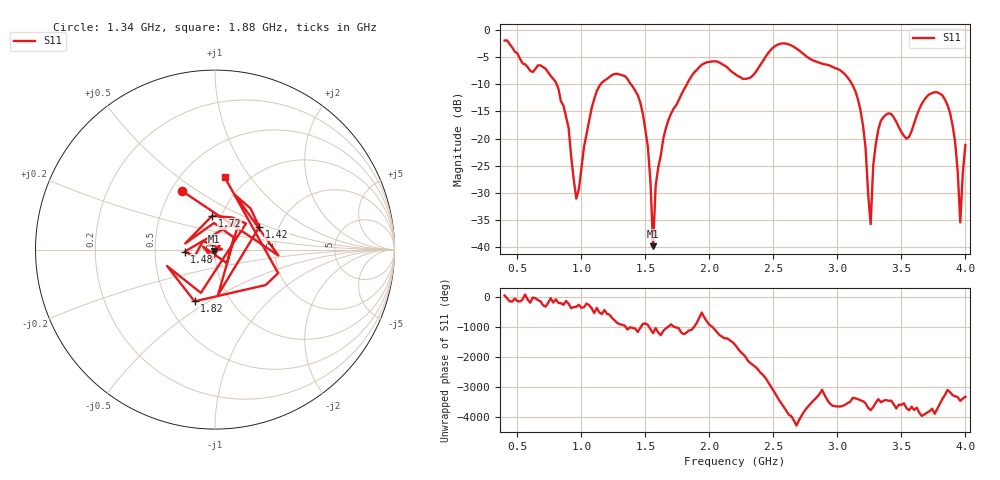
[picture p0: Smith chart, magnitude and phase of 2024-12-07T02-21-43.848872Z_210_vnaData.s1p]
!Created with skrf (http://scikit-rf.org).
# Hz S RI R 50.0
!freq ReS11 ImS11
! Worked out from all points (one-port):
!   181 points, 400 MHz to 4 GHz, reference 50 ohm
!   lowest |S11| = -39.8 dB at 1.56 GHz (marker M1), VSWR 1.02, Z = 49.4 - j0.811 ohm
!   |S11| at or under -10 dB: 807 MHz to 1.15 GHz (342.8 MHz wide, 35 % of centre); 1.387 GHz to 1.824 GHz (436.5 MHz wide, 27.2 % of centre); 3.115 GHz to end of sweep
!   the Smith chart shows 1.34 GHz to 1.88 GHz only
!   S11 on the Smith chart (normalised r, x): 1.34 GHz: 0.57, +0.43; 1.42 GHz: 1.58, +0.43; 1.48 GHz: 0.71, -0.02; 1.72 GHz: 0.90, +0.35; 1.82 GHz: 0.68, -0.44; 1.88 GHz: 0.79, +0.76
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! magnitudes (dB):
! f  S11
! 400 MHz  -1.9
! 860 MHz  -13.9
! 960 MHz  -31.1
! 1.12 GHz  -11.2
! 1.3 GHz  -8.2
! 1.34 GHz  -8.5
! 1.42 GHz  -11.2
! 1.48 GHz  -15.4
! 1.52 GHz  -21.6
! 1.56 GHz  -39.8
! 1.6 GHz  -25.3
! 1.72 GHz  -14.5
! 1.76 GHz  -12.9
! 1.82 GHz  -10.2
! 1.88 GHz  -7.8
! 2.2 GHz  -8.1
! 2.66 GHz  -3.1
! 3.1 GHz  -9.4
! 3.2 GHz  -17.6
! 3.26 GHz  -35.8
! 3.28 GHz  -24.9
! 3.34 GHz  -16.7
! 3.56 GHz  -19.7
! 3.7 GHz  -12.2
! 3.84 GHz  -12.8
! 3.92 GHz  -20.7
! 3.96 GHz  -35.5
! 4 GHz  -21.2
